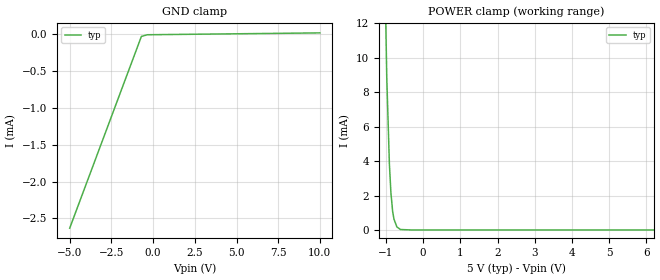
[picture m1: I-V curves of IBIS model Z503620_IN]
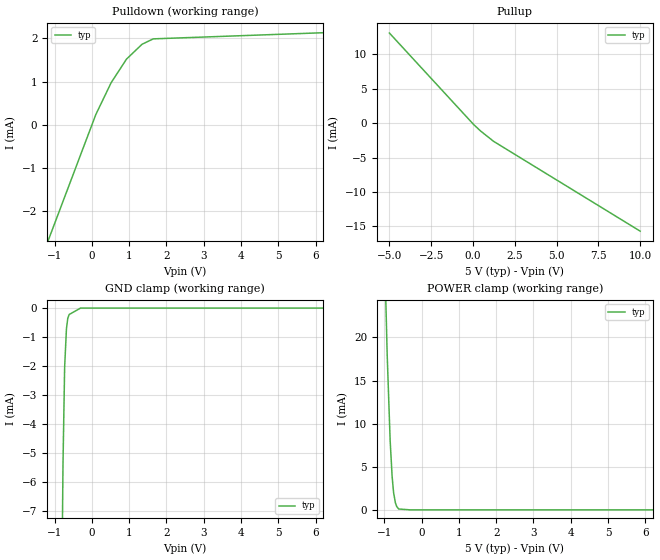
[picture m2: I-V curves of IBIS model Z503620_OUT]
| YOU ARE ONLY AUTHORIZED TO USE THIS SOFTWARE
| ACCORDING TO LICENSOR'S LICENSE RESTRICTIONS.
[IBIS Ver] 3.1
[File Name] mc14512bcl.ibs
[File Rev] 2.0
[Source] Measured and created by ICX Technology
[Date] Friday 7/14/00 9:07:56 AM
[Copyright]
| (C) COPYRIGHT 1993-2000
| MENTOR GRAPHICS CORPORATION
| ICX STANDARD LIBRARY, ICX PROJECT MODELING,
| ICX CUSTOM MODELING, ICX VENDOR MODEL
| ALL RIGHTS RESERVED.
| THE FOLLOWING ARE TRADEMARKS OR SERVICE MARKS OF
| MENTOR GRAPHICS CORPORATION:ICX (R), ICX STANDARD
| LIBRARY(R), ICX PROJECT MODELING(R), ICX CUSTOM
| MODELING(R), qualityIBIS(TM), MODELVIEWER(TM),
| AND MODELEDITOR(TM)
| ALL COPIES OF SOFTWARE, INCLUDING BUT NOT LIMITED TO
| ANY MODIFICATIONS, ENHANCEMENTS OR DERIVATIVE WORKS,
| MUST CONTAIN ALL MENTOR GRAPHICS CORPORATION'S
| NOTICES AND LEGENDS, INCLUDING THOSE EMBEDDED IN
| SOFTWARE AND THOSE AFFIXED TO SOFTWARE MEDIUM
| AND CONTAINER, AS RECEIVED FROM MENTOR GRAPHICS
| CORPORATION.
|  ZAP Model Builder 2.7
[Component] MC14512BCL
[Manufacturer] OnSemiconductor
[Package]
| variable   typ   min   max
R_pkg  .212ohms NA NA
L_pkg  4.758nH NA NA
C_pkg  1.944pF NA NA
[Pin] signal_name  model_name  R_pin  L_pin C_pin
1 X0 Z503620_IN .224 7.258n 2.683p
2 X1 Z503620_IN .216 5.258n 2.19p
3 X2 Z503620_IN .208 3.758n 1.697p
4 X3 Z503620_IN .2 2.758n 1.204p
5 X4 Z503620_IN .2 2.758n 1.204p
6 X5 Z503620_IN .208 3.758n 1.697p
7 X6 Z503620_IN .216 5.258n 2.19p
8 VSS POWER .224 7.258n 2.683p
9 X7 Z503620_IN .224 7.258n 2.683p
10 INH Z503620_IN .216 5.258n 2.19p
11 A Z503620_IN .208 3.758n 1.697p
12 B Z503620_IN .2 2.758n 1.204p
13 C Z503620_IN .2 2.758n 1.204p
14 Z Z503620_OUT .208 3.758n 1.697p
15 DISABLE Z503620_IN .216 5.258n 2.19p
16 VDD POWER .224 7.258n 2.683p
| Models and submodels in the file (2): Z503620_IN (Input), Z503620_OUT (Output)
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| (C) COPYRIGHT 1993-2000
| MENTOR GRAPHICS CORPORATION
| ICX STANDARD LIBRARY, ICX PROJECT MODELING,
| ICX CUSTOM MODELING, ICX VENDOR MODEL
| ALL RIGHTS RESERVED.
| THE FOLLOWING ARE TRADEMARKS OR SERVICE MARKS OF
| MENTOR GRAPHICS CORPORATION:ICX (R), ICX STANDARD
| LIBRARY(R), ICX PROJECT MODELING(R), ICX CUSTOM
| MODELING(R), qualityIBIS(TM), MODELVIEWER(TM),
| AND MODELEDITOR(TM)
| ALL COPIES OF SOFTWARE, INCLUDING BUT NOT LIMITED TO
| ANY MODIFICATIONS, ENHANCEMENTS OR DERIVATIVE WORKS,
| MUST CONTAIN ALL MENTOR GRAPHICS CORPORATION'S
| NOTICES AND LEGENDS, INCLUDING THOSE EMBEDDED IN
| SOFTWARE AND THOSE AFFIXED TO SOFTWARE MEDIUM
| AND CONTAINER, AS RECEIVED FROM MENTOR GRAPHICS
| CORPORATION.
| Model Application Version 1.89 2/18/99.
[Model] Z503620_IN
Model_type Input
Vinl = 1.500V
Vinh = 3.500V
C_comp 4.000pF NA NA
| variable typ   min   max
[Voltage Range] 5.000V NA NA
[GND Clamp Reference] 0.000V NA NA
[POWER Clamp Reference] 5.000V NA NA
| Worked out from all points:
|   POWER clamp passes 1 mA (typ) near -0.81 V on its own axis
[GND Clamp]
-5V       -2.631mA   NA         NA
-703.1mV  -35.38uA   NA         NA
-351.6mV  -12.19uA   NA         NA
10V       12.97uA    NA         NA
[POWER Clamp]
-5V       492.2mA    NA         NA
-979mV    8.877mA    NA         NA
-908mV    3.816mA    NA         NA
-867mV    2.149mA    NA         NA
-820mV    1.066mA    NA         NA
-784mV    618.3uA    NA         NA
-706mV    173.5uA    NA         NA
-610mV    25.95uA    NA         NA
-305mV    0A         NA         NA
10V       0A         NA         NA
| (C) COPYRIGHT 1993-2000
| MENTOR GRAPHICS CORPORATION
| ICX STANDARD LIBRARY, ICX PROJECT MODELING,
| ICX CUSTOM MODELING, ICX VENDOR MODEL
| ALL RIGHTS RESERVED.
| THE FOLLOWING ARE TRADEMARKS OR SERVICE MARKS OF
| MENTOR GRAPHICS CORPORATION:ICX (R), ICX STANDARD
| LIBRARY(R), ICX PROJECT MODELING(R), ICX CUSTOM
| MODELING(R), qualityIBIS(TM), MODELVIEWER(TM),
| AND MODELEDITOR(TM)
| ALL COPIES OF SOFTWARE, INCLUDING BUT NOT LIMITED TO
| ANY MODIFICATIONS, ENHANCEMENTS OR DERIVATIVE WORKS,
| MUST CONTAIN ALL MENTOR GRAPHICS CORPORATION'S
| NOTICES AND LEGENDS, INCLUDING THOSE EMBEDDED IN
| SOFTWARE AND THOSE AFFIXED TO SOFTWARE MEDIUM
| AND CONTAINER, AS RECEIVED FROM MENTOR GRAPHICS
| CORPORATION.
| Model Application Version 1.89 2/18/99.
[Model] Z503620_OUT
Model_type Output
Vref=0.000V
Rref=500.0Mohms
Cref=50.00pF
Vmeas=2.500V
C_comp 8.000pF NA NA
| variable typ   min   max
[Voltage Range] 5.000V NA NA
[POWER Clamp Reference] 5.000V NA NA
[Pullup Reference] 5.000V NA NA
[Pulldown Reference] 0.000V NA NA
[GND Clamp Reference] 0.000V NA NA
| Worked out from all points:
|   slope of the pulldown table from 0 to 0.75 V, typ, clamps not added: 583 ohm
|   slope of the pullup table from 0 to 0.75 V, typ, clamps not added: 463 ohm
|   GND clamp passes 1 mA (typ) near -0.69 V on its own axis
|   POWER clamp passes 1 mA (typ) near -0.71 V on its own axis
[GND Clamp]
-5V       -579.5mA   NA         NA
-775.9mV  -5.363mA   NA         NA
-732.4mV  -2.055mA   NA         NA
-683.6mV  -711.2uA   NA         NA
-647.7mV  -351.2uA   NA         NA
-610.4mV  -222.4uA   NA         NA
-305.2mV  0A         NA         NA
10V       0A         NA         NA
[Pulldown]
-5V       -11.42mA   NA         NA
104.6mV   238.7uA    NA         NA
517.3mV   978.7uA    NA         NA
927.7mV   1.522mA    NA         NA
1.344V    1.866mA    NA         NA
1.645V    1.991mA    NA         NA
10V       2.252mA    NA         NA
[Pullup]
-5V       13.12mA    NA         NA
44mV      -205uA     NA         NA
454mV     -1.135mA   NA         NA
1.235V    -2.645mA   NA         NA
10V       -15.71mA   NA         NA
[POWER Clamp]
-5V       715.8mA    NA         NA
-923mV    18mA       NA         NA
-844mV    8.099mA    NA         NA
-791mV    3.899mA    NA         NA
-752mV    2.024mA    NA         NA
-703mV    823.6uA    NA         NA
-669mV    404.5uA    NA         NA
-615mV    100.1uA    NA         NA
-307.5mV  0A         NA         NA
10V       0A         NA         NA
[Ramp]
| variable typ min max
dV/dt_r 2.552/52.16n NA NA
dV/dt_f 2.552/44.81n NA NA
R_load = 2.500kOhms
